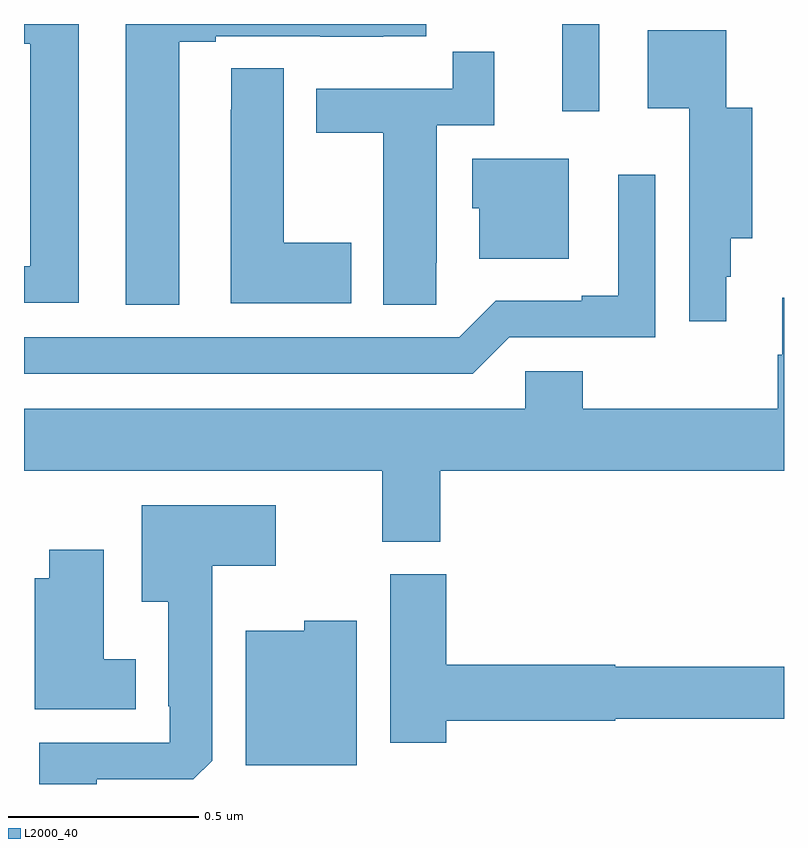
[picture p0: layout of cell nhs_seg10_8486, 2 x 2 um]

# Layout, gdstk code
import gdstk
lib = gdstk.Library(unit=1e-6, precision=1e-09)
def R(c, l, rs):  # rectangles x0, y0, x1, y1
    for r in rs: c.add(gdstk.rectangle(r[:2], r[2:], *l))
def P(c, l, *ps):  # polygons
    for p in ps: c.add(gdstk.Polygon(p, *l))
L2000_40 = (2000, 40)

nhs_seg10_8486 = lib.new_cell('nhs_seg10_8486')
R(nhs_seg10_8486, L2000_40, [(218.417,1293.27,218.514,1293.5)])
P(nhs_seg10_8486, L2000_40, [(217.408,1293.453),(217.504,1293.453),(217.504,1293.468),(217.78,1293.468),(217.78,1293.467),(217.946,1293.467),(217.946,1293.468),(218.059,1293.468),(218.059,1293.5),(217.268,1293.5),(217.268,1292.761),(217.408,1292.761)],
  [(217.144,1293.5),(217,1293.5),(217,1293.448),(217.016,1293.448),(217.016,1292.862),(217,1292.862),(217,1292.766),(217.144,1292.766)],
  [(218.848,1292.835),(218.86,1292.835),(218.86,1292.936),(218.916,1292.936),(218.916,1293.28),(218.848,1293.28),(218.848,1293.484),(218.642,1293.484),(218.642,1293.278),(218.75,1293.278),(218.75,1293.04),(218.751,1293.04),(218.751,1292.718),(218.848,1292.718)],
  [(218.085,1292.872),(218.086,1292.872),(218.086,1293.234),(218.237,1293.234),(218.237,1293.427),(218.128,1293.427),(218.128,1293.33),(217.769,1293.33),(217.769,1293.214),(217.946,1293.214),(217.946,1292.761),(218.085,1292.761)],
  [(217.861,1292.925),(217.684,1292.925),(217.684,1293.383),(217.545,1293.383),(217.545,1293.275),(217.544,1293.275),(217.544,1292.765),(217.861,1292.765)],
  [(218.434,1293.145),(218.18,1293.145),(218.18,1293.015),(218.198,1293.015),(218.198,1292.882),(218.434,1292.882)],
  [(218.277,1292.676),(218.661,1292.676),(218.661,1293.103),(218.564,1293.103),(218.564,1292.785),(218.468,1292.785),(218.468,1292.772),(218.241,1292.772),(218.145,1292.676),(217,1292.676),(217,1292.58),(218.181,1292.58)],
  [(218.096,1292.324),(219,1292.324),(219,1292.779),(218.996,1292.779),(218.996,1292.63),(218.984,1292.63),(218.984,1292.488),(218.471,1292.488),(218.471,1292.586),(218.319,1292.586),(218.319,1292.488),(217,1292.488),(217,1292.324),(217.943,1292.324),(217.943,1292.137),(218.096,1292.137)],
  [(217.192,1291.512),(217.446,1291.512),(217.495,1291.561),(217.495,1292.075),(217.663,1292.075),(217.663,1292.233),(217.31,1292.233),(217.31,1291.979),(217.379,1291.979),(217.379,1291.705),(217.383,1291.705),(217.383,1291.608),(217.04,1291.608),(217.04,1291.5),(217.192,1291.5)],
  [(217.294,1291.828),(217.21,1291.828),(217.21,1292.116),(217.067,1292.116),(217.067,1292.041),(217.028,1292.041),(217.028,1291.697),(217.294,1291.697)],
  [(218.111,1291.667),(218.556,1291.667),(218.556,1291.672),(219,1291.672),(219,1291.808),(218.556,1291.808),(218.556,1291.814),(218.111,1291.814),(218.111,1292.052),(217.964,1292.052),(217.964,1291.608),(218.111,1291.608)],
  [(217.876,1291.93),(217.737,1291.93),(217.737,1291.903),(217.583,1291.903),(217.583,1291.55),(217.876,1291.55)])

lib.write_gds('nhs_seg10_8486.gds')
